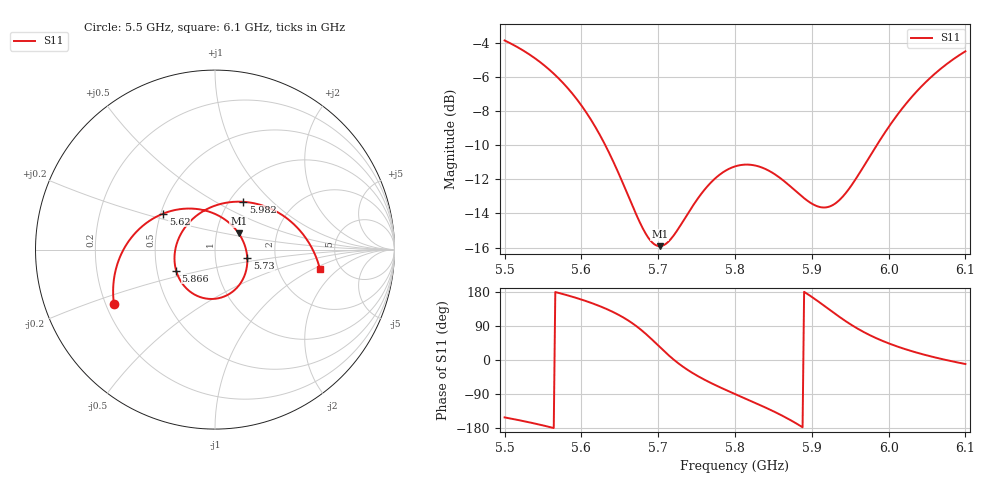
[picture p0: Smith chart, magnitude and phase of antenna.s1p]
! Touchstone file exported from HFSS 2025.2.4
!  File:  E:/hfss-agent/continuation/work/robust/runs/20261023_210417_array_R3_full_SMA/Patch.aedt
!  Generated:  09:24:15 PM Oct 23, 2026
!  Design:  PatchArray
!  Project:  Patch
# GHz S MA R 50.000000
! Terminal data exported
! Port[1] = SMA_signalpin_T1
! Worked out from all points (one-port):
!   301 points, 5.5 GHz to 6.1 GHz, reference 50 ohm
!   lowest |S11| = -15.9 dB at 5.702 GHz (marker M1), VSWR 1.38, Z = 64 + j11.9 ohm
!   |S11| at or under -10 dB: 5.631 GHz to 5.985 GHz (353.6 MHz wide, 6.09 % of centre)
!   S11 on the Smith chart (normalised r, x): 5.5 GHz: 0.23, -0.24; 5.62 GHz: 0.52, +0.24; 5.73 GHz: 1.43, -0.14; 5.866 GHz: 0.63, -0.16; 5.982 GHz: 1.16, +0.68; 6.1 GHz: 3.51, -1.19
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5.5  0.6403 -151.5
5.54  0.5668 -168.0
5.576  0.4811 174.0
5.598  0.4192 160.8
5.62  0.3515 145.2
5.65  0.2568 117.4
5.666  0.2114 97.5
5.682  0.1769 72.2
5.702  0.1601 34.4
5.726  0.1798 -8.4
5.73  0.1857 -14.4
5.748  0.2149 -38.3
5.768  0.245 -60.0
5.784  0.263 -75.4
5.8  0.274 -89.8
5.83  0.2743 -116.5
5.848  0.2631 -133.4
5.866  0.246 -151.7
5.876  0.2354 -162.9
5.896  0.2161 172.0
5.916  0.2077 143.4
5.932  0.2146 119.6
5.95  0.2382 94.7
5.982  0.3094 59.3
6.004  0.3679 40.9
6.026  0.4267 25.9
6.062  0.5158 6.0
6.1  0.5951 -10.6
